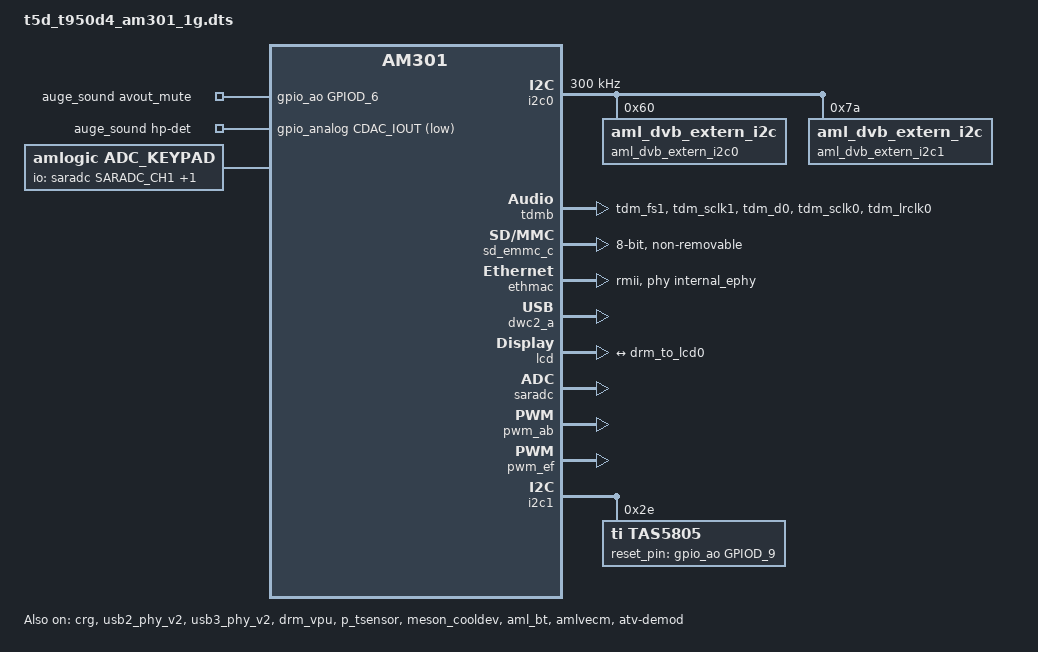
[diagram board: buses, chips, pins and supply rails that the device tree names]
// SPDX-License-Identifier: (GPL-2.0+ OR MIT)
/*
 * Copyright (c) 2019 Amlogic, Inc. All rights reserved.
 */

/dts-v1/;

#include "mesont5d.dtsi"
#include "hdr10plus.dtsi"
#include "partition_mbox_ab_gpt_from_dts.dtsi"
#include "mesont5d_am301-panel.dtsi"
#include "mesont5_drm.dtsi"
#include "mesont5d_audio.dtsi"

/ {
	amlogic-dt-id = "t5d_t950d4_am301-1g";
	compatible = "t5d_t950d4_am301-1g";

	aliases {
		serial0 = &uart_B;
		serial1 = &uart_A;
		serial2 = &uart_C;
		tsensor0 = &p_tsensor;
		i2c0 = &i2c0;
		i2c1 = &i2c1;
		i2c2 = &i2c2;
		spi0 = &spifc;
		spi1 = &spicc0;
	};

	memory@0 {
		device_type = "memory";
		linux,usable-memory = <0x0 0x40000000>;
	};

	reserved-memory {
		#address-cells = <1>;
		#size-cells = <1>;
		ranges;

		ramdump_bl33z {
			compatible = "shared-dma-pool";
			size = <0x01800000>;
			alignment = <0x00400000>;
			alloc-ranges = <0x05000000 0x07000000>;
			linux,contiguous-region;
			no-map;
			status = "disabled";
		};

		ramdump_data@0 {
			reg = <0x0 0x0>;
			status = "disabled"; /* disabled as default */
		};

		/* global autoconfigured region for contiguous allocations */
		ramoops@7400000 {
			compatible = "ramoops";
			reg = <0x07400000 0x00080000>;/* addr set in uboot */
			record-size = <0x30000>;
			console-size = <0x40000>;
			ftrace-size = <0x0>;
			pmsg-size = <0x10000>;
		};

		dmc_reserved:linux,dmc_monitor {
			compatible = "amlogic,dmc_monitor-reserved";
			reg = <0x0 0x10000>;
		};

		secmon_reserved: linux,secmon {
			compatible = "shared-dma-pool";
			no-map;
			size = <0x400000>;
			alignment = <0x400000>;
			alloc-ranges = <0x05000000 0x400000>;
		};

		logo_reserved:linux,meson-fb {
			compatible = "amlogic, meson-fb";
			alignment = <0x400000>;
			reg = <0x3f800000 0x800000>;
		};

		lcd_cma_reserved:linux,lcd-reserved {
			compatible = "amlogic, lcd_rsvd";
			reg = <0x3f000000 0x00510000>;
			tcon-size = <0x00502840>;
		};

		codec_mm_cma:linux,codec_mm_cma {
			compatible = "shared-dma-pool";
			reusable;
			/* testAV1Decode60fps1920x1080: 116MB is required at least */
			size = <0x7400000>;
			alignment = <0x400000>;
			alloc-ranges = <0x30000000 0x10000000>;
			linux,contiguous-region;
		};

		/* codec shared reserved */
		codec_mm_reserved:linux,codec_mm_reserved {
			compatible = "amlogic, codec-mm-reserved";
			size = <0x0>;
			/*alignment = <0x100000>;*/
			//no-map;
			alloc-ranges = <0x30000000 0x10000000>;
		};

		ion_cma_reserved:linux,ion-dev {
			compatible = "shared-dma-pool";
			reusable;
			size = <0x0>;
			alignment = <0x400000>;
			alloc-ranges = <0x30000000 0x10000000>;
		};
		ion_fb_reserved:linux,ion-fb {
			compatible = "shared-dma-pool";
			reusable;
			size = <0x0>;
			alignment = <0x400000>;
			alloc-ranges = <0x30000000 0x10000000>;
		};
		/* secure ion for gpu, advice size is 80M */
		ion_secure_reserved:linux,ion-secure {
			compatible = "amlogic, ion-secure-mem";
			no-map;
			size = <0x0>;
			alignment = <0x400000>;
		};

		dmaheap_cma_reserved:heap-gfx {
			compatible = "shared-dma-pool";
			reusable;
			/* 1080p TV android16 size 88M */
			size = <0x0>;
			alignment = <0x400000>;
		};
		dmaheap_fb_reserved:heap-fb {
			compatible = "shared-dma-pool";
			reusable;
			/* 1080p TV android16 size 24M */
			size = <0x1c00000>;
			alignment = <0x400000>;
			alloc-ranges = <0x30000000 0x10000000>;
		};

		/*  vdin0 CMA pool */
		//vdin0_cma_reserved:linux,vdin0_cma {
		//	compatible = "shared-dma-pool";
		//	reusable;
			/* 3840x2160x4x4 ~=128 M */
		//	size = <0xc400000>;
		//	alignment = <0x400000>;
		//};

		/*  vdin1 CMA pool */
		vdin1_cma_reserved:linux,vdin1_cma {
			compatible = "shared-dma-pool";
			reusable;
			/* 1920x1080x2x4  =16 M */
			size = <0x0c00000>;
			alignment = <0x400000>;
			alloc-ranges = <0x30000000 0x10000000>;
		};

		/* demod_reserved:linux,demod {
		 *	compatible = "amlogic, demod-mem";
		 *	size = <0x6400000>; //8M //100m 0x6400000
		 *	//multi-use;
		 *	//no-map;
		 * };
		 */

		/* demod_cma_reserved:linux,demod_cma {
		 *	compatible = "shared-dma-pool";
		 *	reusable;
		 *	// 40M
		 *	size = <0x02800000>;
		 *	alignment = <0x400000>;
		 *};
		 */

		/*di CMA pool */
		di_cma_reserved:linux,di_cma {
			compatible = "shared-dma-pool";
			reusable;
			/* buffer_size = 3621952(yuv422 8bit)
			 *  | 4736064(yuv422 10bit)
			 *  | 4074560(yuv422 10bit full pack mode)
			 * 10x3621952=34.6M(0x23) support 8bit
			 * 10x4736064=45.2M(0x2e) support 12bit
			 * 10x4074560=40M(0x28) support 10bit
			 */
			//size = <0x7800000>;
			alignment = <0x400000>;
		};

		/* for hdmi rx emp use */
		/*hdmirx_emp_cma_reserved:linux,emp_cma {*/
			/*compatible = "shared-dma-pool";*/
			/*linux,phandle = <5>;*/
			/*reusable;*/
			/* 4M for emp to ddr */
			/* 32M for tmds to ddr */
			/*size = <0x8000>;*/
			/*alignment = <0x400000>;*/
		/*};*/

		/* POST PROCESS MANAGER */
		ppmgr_reserved:linux,ppmgr {
			compatible = "amlogic, ppmgr_memory";
			size = <0x0>;
		};

		picdec_cma_reserved:linux,picdec {
			compatible = "shared-dma-pool";
			reusable;
			size = <0x0>;
			alignment = <0x0>;
			linux,contiguous-region;
		};

		/* global autoconfigured region for contiguous allocations */
		linux,cma {
			compatible = "shared-dma-pool";
			reusable;
			size = <0x400000>;
			alignment = <0x400000>;
			linux,cma-default;
		};
	}; /* end of reserved-memory */

	multi-di {
		//status = "okay";
		/***************************************************
		 * memory: default is 4
		 *	0:use reserved;
		 *	1:use cma;
		 *	2:use cma as reserved
		 *  4:use codec mem
		 ***************************************************/
		//flag_cma = <4>;//t5d unsupport 4K,di 1CH need 42M
		//memory-region = <&di_cma_reserved>;
		/***************************************************
		 * clock-range: <min max>
		 *	default: <334 334>
		 ***************************************************/
		//clock-range = <334 334>;
		/***************************************************
		 * en_4k: t5d not support 4k
		 ***************************************************/
		//en_4k = <0>;
		//keep_dec_vf = <0>;
		//po_fmt = <0>;
		/***************************************************
		 * post_nub: default is 9
		 ***************************************************/
		//post_nub = <9>;
		post-wr-support = <0>;
		postlink_en = <1>;
	};

	aml_dtv_demod {
		compatible = "amlogic, ddemod-t5d-revB";
		dev_name = "aml_dtv_demod";
		status = "disabled";
		diseqc_name = "sgm_41286";
		pinctrl-names="if_agc_pins", "diseqc_out", "rf_agc_pins";
		pinctrl-0=<&dtvdemod_if_agc_pins>;
		pinctrl-1=<&diseqc_out>;
		pinctrl-2=<&dtvdemod_rf_agc_pins>;
		//pinctrl-3=<&diseqc_in>;
		lnb_en-gpios = <&gpio GPIOZ_2 GPIO_ACTIVE_HIGH>;
		lnb_sel-gpios = <&gpio GPIOZ_3 GPIO_ACTIVE_HIGH>;
		interrupts = <GIC_SPI 142 IRQ_TYPE_EDGE_RISING>;
		interrupt-names = "demod_isr";

		power-domains = <&pwrdm PDID_T5_DEMOD>;
		clocks = <&clkc CLKID_CLK81_DAC_CLK>;
		clock-names = "vdac_clk_gate";

		reg = <0xff670000 0x10000	/*dtv demod base*/
			   0xff646000 0x2000	/*hiu reg base*/
			   0xff800000 0x1000	/*io_aobus_base*/
			   0xffd01000 0x1000	/*reset*/
			>;

		spectrum = <1>;
		cma_mem_size = <16>; // MB
		//memory-region = <&demod_cma_reserved>;//<&demod_reserved>;
	};

	/* Audio Related start */
	auge_sound {
		compatible = "amlogic, auge-sound-card";
		aml-audio-card,name = "AML-AUGESOUND";

		avout_mute-gpios = <&gpio_ao GPIOD_6 GPIO_ACTIVE_HIGH>;
		av_mute_sleep_time = <900>;
		/* headphone insert det */
		hp-det-gpios = <&gpio_analog CDAC_IOUT GPIO_ACTIVE_LOW>;

		interrupts = <GIC_SPI 235 IRQ_TYPE_EDGE_RISING>;
		interrupt-names = "audio_exception64";

		aml-audio-card,dai-link@0 {
			format = "i2s";
			mclk-fs = <256>;
			//continuous-clock;
			//bitclock-inversion;
			//frame-inversion;
			/* master mode */
			bitclock-master = <&tdma>;
			frame-master = <&tdma>;
			/* slave mode */
			/*
			 * bitclock-master = <&tdmacodec>;
			 * frame-master = <&tdmacodec>;
			 */
			/* suffix-name, sync with android audio hal used for */
			suffix-name = "alsaPORT-pcm";
			tdmacpu: cpu {
				sound-dai = <&tdma>;
				dai-tdm-slot-tx-mask =
							<1 1>;
				dai-tdm-slot-rx-mask =
							<1 1>;
				dai-tdm-slot-num = <2>;
				dai-tdm-slot-width = <32>;
				system-clock-frequency = <12288000>;
			};
			tdmacodec: codec {
				sound-dai = <&dummy_codec>;
			};
		};

		aml-audio-card,dai-link@1 {
			format = "i2s";
			mclk-fs = <256>;
			continuous-clock;
			//bitclock-inversion;
			//frame-inversion;
			/* master mode */
			bitclock-master = <&tdmb>;
			frame-master = <&tdmb>;
			/* slave mode */
			//bitclock-master = <&tdmbcodec>;
			//frame-master = <&tdmbcodec>;
			/* suffix-name, sync with android audio hal used for */
			suffix-name = "alsaPORT-i2s";
			cpu {
				sound-dai = <&tdmb>;
				dai-tdm-slot-tx-mask = <1 1>;
				dai-tdm-slot-rx-mask = <1 1>;
				dai-tdm-slot-num = <2>;
				dai-tdm-slot-width = <32>;
				system-clock-frequency = <12288000>;
			};
			tdmbcodec: codec {
				prefix-names = "AMP";
				sound-dai = <&tas5805 &acodec>;
			};
		};

		aml-audio-card,dai-link@2 {
			format = "i2s";
			mclk-fs = <256>;
			//continuous-clock;
			//bitclock-inversion;
			//frame-inversion;
			/* master mode */
			bitclock-master = <&tdmc>;
			frame-master = <&tdmc>;
			/* slave mode */
			//bitclock-master = <&tdmccodec>;
			//frame-master = <&tdmccodec>;
			/* suffix-name, sync with android audio hal used for */
			//suffix-name = "alsaPORT-tdm";
			cpu {
				sound-dai = <&tdmc>;
				dai-tdm-slot-tx-mask = <1 1>;
				dai-tdm-slot-rx-mask = <1 1>;
				dai-tdm-slot-num = <2>;
				dai-tdm-slot-width = <32>;
				system-clock-frequency = <12288000>;
			};
			tdmccodec: codec {
				sound-dai = <&dummy_codec>;
			};
		};

		aml-audio-card,dai-link@3 {
			mclk-fs = <64>;
			/* suffix-name, sync with android audio hal used for */
			suffix-name = "alsaPORT-pdm-builtinmic";
			cpu {
				sound-dai = <&pdma>;
			};
			codec {
				sound-dai = <&dummy_codec>;
			};
		};

		aml-audio-card,dai-link@4 {
			mclk-fs = <128>;
			continuous-clock;
			/* suffix-name, sync with android audio hal used for */
			suffix-name = "alsaPORT-spdif";
			cpu {
				sound-dai = <&spdifa>;
				system-clock-frequency = <6144000>;
			};
			codec {
				sound-dai = <&dummy_codec>;
			};
		};

		aml-audio-card,dai-link@5 {
			mclk-fs = <128>;
			suffix-name = "alsaPORT-spdifb";
			cpu {
				sound-dai = <&spdifb>;
				system-clock-frequency = <6144000>;
			};
			codec {
				sound-dai = <&dummy_codec>;
			};
		};

		aml-audio-card,dai-link@6 {
			mclk-fs = <256>;
			suffix-name = "alsaPORT-tv";
			cpu {
				sound-dai = <&extn>;
				system-clock-frequency = <12288000>;
			};
			codec {
				sound-dai = <&dummy_codec>;
			};
		};

		aml-audio-card,dai-link@7 {
			mclk-fs = <256>;
			continuous-clock;
			suffix-name = "alsaPORT-loopback";
			cpu {
				sound-dai = <&loopbacka>;
				system-clock-frequency = <12288000>;
			};
			codec {
				sound-dai = <&dummy_codec>;
			};
		};
	};
	/* Audio Related end */

	dvb-extern {
		compatible = "amlogic, dvb-extern";
		dev_name = "dvb-extern";
		status = "okay";

		fe_num = <1>;
		fe0_demod = "internal";

		tuner_num = <2>; /* tuner number, multi tuner support */
		tuner0_name = "mxl661_tuner";
		tuner0_i2c_adap = <&i2c0>;
		tuner0_i2c_addr = <0x60>;
		tuner0_xtal = <1>; /* 0: 16MHz, 1: 24MHz */
		tuner0_xtal_mode = <3>;
					/* NO_SHARE_XTAL(0)
					 * SLAVE_XTAL_SHARE(3)
					 */
		tuner0_xtal_cap = <25>;

		tuner1_name = "rt710_tuner";
		tuner1_i2c_adap = <&i2c0>;
		tuner1_i2c_addr = <0xF4>;
		tuner1_xtal = <0>; /* 0: 16MHz, 1: 24MHz */
		tuner1_xtal_mode = <0>;
					/* NO_SHARE_XTAL(0)
					 * SLAVE_XTAL_SHARE(3)
					 */
		tuner1_xtal_cap = <25>;
	};

	dvb-demux {
		compatible = "amlogic, dvb-demux";
		dev_name = "dvb-demux";
		status = "okay";

		dmx = <&demux>;
		key_endia = <1>;
		add_s2p2 = <1>;
		add_ts_in = <1>;
		add_asyncfifo = <1>;

		/*"parallel","serial","disable"*/
		ts1 = "parallel";
		ts1_control = <0>;
		ts1_invert = <0>;
		ts1_csa_enable = <0>;

		ts2 = "parallel";
		ts2_control = <0>;
		ts2_invert = <0>;
		tsin_deglitch = <1>;
		ts2_csa_enable = <1>;

		clocks = <&clkc CLKID_CLK81_DEMUX
		&clkc CLKID_CLK81_AHB_ARB0
		&clkc CLKID_CLK81_PARSER0>;
		clock-names = "demux", "ahbarb0", "parser_top";
		pinctrl-names = "p_ts2";
		pinctrl-0 = <&dvb_p_ts2_pins>;
	};
	dvbci {
		compatible = "amlogic, dvbci";
		dev_name = "dvbci";
		/* 0=iobus,1=spi,2=cimax,3=spi-t312 4:T5D,ci bus*/
		io_type = <4>;
		le_enable_level = <1>; /*LE pin enable level*/
		/*gpio pin define*/
		pinctrl-names= "ci_ts_pins", "ci_addr_pins";
		pinctrl-0=<&dvb_ci_bus_pins &ci_ts_pins &ci_ts_clk_pins>;
		pinctrl-1=<&dvb_ci_bus_pins &ci_addr_pins &ci_gpio_pins>;
		reg = <0xffd20000 0x1FFF>;
		/*irq define*/
		interrupts = <0 186 1
				0 187 1>;
		interrupt-names = "irq_cmp",
					"irq_timeout";
		dvbci_io {
			/*gpio define  GPIOM_27 GPIOM_28 GPIOM_29*/
			cd_pin1 = <&gpio       GPIOM_27       GPIO_ACTIVE_HIGH>;
			pwr_pin = <&gpio       GPIOM_28       GPIO_ACTIVE_HIGH>;
			le_pin  = <&gpio       GPIOM_29       GPIO_ACTIVE_HIGH>;
		};
	};

	/* SMC */
	smartcard {
		compatible = "amlogic,smartcard-sc2";
		dev_name = "smartcard";
		status = "disabled";

		reg = <0xffd25000 0x1000>;
		irq_trigger_type = "GPIO_IRQ_LOW";

		reset_pin-gpios = <&gpio GPIOZ_3 GPIO_ACTIVE_HIGH>;
		detect_pin-gpios = <&gpio GPIOM_27 GPIO_ACTIVE_HIGH>;
		enable_5v3v_pin-gpios = <&gpio GPIOM_28 GPIO_ACTIVE_HIGH>;
		enable_pin-gpios = <&gpio GPIOZ_2 GPIO_ACTIVE_HIGH>;

		interrupts = <0 37 1>;
		interrupt-names = "smc0_irq";
		/*
		 *Smc clock source, if change this,
		 *you must adjust clk and divider in smartcard.c
		 */
		smc0_clock_source = <0>;
		/*0: high voltage on detect pin indicates card in.*/
		smc0_det_invert = <0>;
		smc0_5v3v_level = <0>;
		/*Ordinarily,smartcard controller needs a enable pin.*/
		smc_need_enable_pin = "yes";
		reset_level = <0>;
		smc0_enable_level = <0>;

		pinctrl-names = "default";
		pinctrl-0 = <&sd_iso7816_pins>;

		/* For NSK2 Smartcard
		 * pinctrl-names = "default", "pins-mode0", "pins-mode1",
		 *      "pins-mode2", "data-m0-h",
		 *      "data-m1-h", "data-m2-h",
		 *      "data-m0-l", "data-m1-l",
		 *      "data-m2-l";
		 * pinctrl-0 = <&sd_iso7816_pins>;
		 * pinctrl-1 = <&iso7816_pins_mode_0>;
		 * pinctrl-2 = <&iso7816_pins_mode_1>;
		 * pinctrl-3 = <&iso7816_pins_mode_2>;
		 * pinctrl-4 = <&iso7816_pin_data_m_0_h>;
		 * pinctrl-5 = <&iso7816_pin_data_m_1_h>;
		 * pinctrl-6 = <&iso7816_pin_data_m_2_h>;
		 * pinctrl-7 = <&iso7816_pin_data_m_0_l>;
		 * pinctrl-8 = <&iso7816_pin_data_m_1_l>;
		 * pinctrl-9 = <&iso7816_pin_data_m_2_l>;
		 */

		clocks = <&clkc CLKID_CLK81_SMARTCARD>;
		clock-names = "smartcard";
	};

	vdin@0 {
		compatible = "amlogic, vdin-t5d";
		/*memory-region = <&vdin0_cma_reserved>;*/
		status = "okay";
		/*bit0:(1:share with codec_mm;0:cma alone)
		 *bit8:(1:alloc in discontinuous way;0:alone in continuous way)
		 */
		flag_cma = <0x101>;
		/*MByte, if 10bit disable: 64M(YUV422),
		 *if 10bit enable: 64*1.5 = 96M(YUV422)
		 *if support 4K2K-YUV444-10bit-WR:3840*2160*4*6 ~= 200M
		 *if support 4K2K-YUV422-10bit-wr:3840*2160*3*6 ~= 160M
		 *if support 4K2K-YUV422-8BIT-WR:3840*2160*2*4 ~= 64M
		 *if support 1080p-YUV422-8BIT-WR:1920*1080*2*4 ~= 16M
		 *worst case:(4096*2160*4 + 2M(afbce issue)) *6buf = 214.5M
		 */
		cma_size = <80>;
		frame_buff_num = <10>;
		interrupts = <0 83 1>;
		rdma-irq = <2>;
		/*clocks = <&clkc CLKID_FCLK_DIV5>,
		 *	<&clkc CLKID_VDIN_MEAS_COMP>;
		 *clock-names = "fclk_div5", "cts_vdin_meas_clk";
		 */
		vdin_id = <0>;
		clocks = <&clkc CLKID_FCLK_DIV5>,
			<&clkc CLKID_VDIN_MEAS_GATE>;
		clock-names = "fclk_div5", "cts_vdin_meas_clk";
		/*vdin write mem color depth support:
		 * bit0:support 8bit
		 * bit1:support 9bit
		 * bit2:support 10bit
		 * bit3:support 12bit
		 * bit4:support yuv422 10bit full pack mode (from txl new add)
		 * bit5:force yuv422 to yuv444 malloc (for vdin0 debug)
		 * bit8:use 8bit  at 4k_50/60hz_10bit
		 * bit9:use 10bit at 4k_50/60hz_10bit
		 */
		tv_bit_mode = <0x235>;
		/* afbce_bit_mode: (amlogic frame buff compression encoder)
		 * bit0 -- enable afbce
		 * bit1 -- enable afbce compression-lossy
		 * bit4 -- afbce for 4k
		 * bit5 -- afbce for 1080p
		 * bit6 -- afbce for 720p
		 * bit7 -- afbce for smaller resolution
		 */
		afbce_bit_mode = <0x0>;
		/*urgent_en*/
		double_write_en;
		/* secure_en; */
		v4l_support_en = <0>;
		v4l_vd_num = <70>;
		/* v4l2 capability */
		driver   = "vdinvideo";
		card     = "meson-t5d";
		bus_info = "vdin0 v4l2";
	};

	vdin@1 {
		compatible = "amlogic, vdin-t5d";
		memory-region = <&vdin1_cma_reserved>;
		status = "okay";
		/*bit0:(1:share with codec_mm;0:cma alone)
		 *bit8:(1:alloc in discontinuous way;0:alone in continuous way)
		 */
		flag_cma = <0>;
		interrupts = <0 85 1>;
		rdma-irq = <4>;
		/*clocks = <&clkc CLKID_FCLK_DIV5>,
		 *	<&clkc CLKID_VDIN_MEAS_COMP>;
		 *clock-names = "fclk_div5", "cts_vdin_meas_clk";
		 */
		vdin_id = <1>;
		frame_buff_num = <4>;
		/*vdin write mem color depth support:
		 *bit0:support 8bit
		 *bit1:support 9bit
		 *bit2:support 10bit
		 *bit3:support 12bit
		 */
		tv_bit_mode = <0x15>;
		/*urgent_en*/
		/* vdin v4l2 start */
		v4l_support_en = <0>;
		v4l_vd_num = <71>;
		/* v4l2 capability */
		driver   = "vdinvideo";
		card     = "meson-t5d";
		bus_info = "vdin1 v4l2";
	};

	/* for external keypad */
	adc_keypad {
		compatible = "amlogic, adc_keypad";
		status = "okay";
		key_name = "power","vol-","vol+","enter","menu","source","exit";
		key_num = <7>;
		io-channels = <&saradc SARADC_CH1>,<&saradc SARADC_CH2>;
		io-channel-names = "key-chan-1", "key-chan-2";
		key_chan = <SARADC_CH1 SARADC_CH1 SARADC_CH1 SARADC_CH1
			SARADC_CH2 SARADC_CH2 SARADC_CH2>;
		key_code = <116 114 115 28 139 466 174>;
		key_val = <0 252 468 684 0 252 468>; // Unit: millivolt
		key_tolerance = <70 70 70 70 70 70 70>; // Unit: millivolt
	};

	atv-demod {
		compatible = "amlogic, atv-demod";
		status = "okay";
		btsc_sap_mode = <1>;
		interrupts = <0 236 1>;
		/* pinctrl-names="atvdemod_agc_pins"; */
		/* pinctrl-0=<&atvdemod_agc_pins>; */
		reg = <0xff656000 0x2000 /* demod reg */
				0xff646000 0x2000 /* hiu reg */
				0xff634400 0x400 /* periphs reg */
				0xff64a000 0x2000>; /* audio reg */
		reg_23cf = <0x88188832>;
		/*default:0x88188832;r840 on haier:0x48188832*/
	};
}; /* end of / */

&amlvideo2_0 {
	/*1:720P_NV21 2:1080P_NV21 3:4K_NV21*/
	codec_mm_alloc = <1>;
};

&amlvideo2_1 {
	/*1:720P_NV21 2:1080P_NV21 3:4K_NV21*/
	codec_mm_alloc = <1>;
};

&hdmirx {
	status = "disabled";
	en_4k_2_2k = <0>;
	hpd_low_cec_off = <1>;
	arc_port = <1>;
	/* bit4: enable feature, bit3~0: port number */
	disable_port = <0x0>;
	pinctrl-0 = <&hdmirx_a_mux &hdmirx_b_mux
		&hdmirx_c_mux>;
};

&i2c0 {
	status = "okay";
	clock-frequency = <300000>;
	pinctrl-names="default";
	pinctrl-0=<&i2c0_z_pins>;

	aml_dvb_extern_i2c0: aml_dvb_extern_i2c@60 {
		compatible = "aml_dvb_extern_i2c";
		dev_name = "mxl661";
		reg = <0x60>;
		status = "okay";
	};
	aml_dvb_extern_i2c1: aml_dvb_extern_i2c@7a {
		compatible = "aml_dvb_extern_i2c";
		dev_name = "rt710";
		reg = <0x7a>;
		status = "okay";
	};
};

&tdmb {
	pinctrl-names = "tdm_pins","tdm_gpio";
	pinctrl-0 = <&mclk_1_pins
			&tdmout_b_pins
			&tdm_d0_pins
			&tdm_clk_pins>;
	pinctrl-1 = <&tdmb_gpio>;

};

&pdma {
	pinctrl-names = "pdm_pins";
	pinctrl-0 = <&pdmin>;
};

&spdifa {

		pinctrl-names = "spdif_pins",
			"spdif_pins_mute";
		pinctrl-0 = <&spdifout_a>;
		pinctrl-1 = <&spdifout_a_mute>;
};

&spdifb {
		pinctrl-names = "spdif_pins",
			"spdif_pins_mute";
		pinctrl-0 = <&spdifout_b>;
		pinctrl-1 = <&spdifout_b_mute>;
};

&pinctrl_audio {
	tdm_d0_pins: tdm_d0_pin {
		mux {
			groups = "tdm_d0";
			function = "tdmoutb_lane0";
		};
	};

	tdm_clk_pins: tdm_clk_pin {
		mux {
			groups = "tdm_sclk0", "tdm_lrclk0";
			function = "tdm_clk_outb";
		};
	};
};

&pinctrl_periphs {
	/* audio pin mux */
	tdmout_b_pins: tdmout_b_pin {
		mux { /* GPIOH_15, GPIOH_16, GPIOH_17 */
			groups = "tdm_fs1",
				"tdm_sclk1",
				"tdm_d0";
			function = "tdm";
			bias-pull-down;
		};
	};

	tdmb_gpio: tdmb_gpio {
		mux { /* GPIOH_14, GPIOH_15, GPIOH_16, GPIOH_17 */
			groups ="GPIOH_14",
				"GPIOH_15",
				"GPIOH_16",
				"GPIOH_17";
			function = "gpio_periphs";
			output-low;
		};
	};

	pdmin: pdmin {
		mux { /* GPIOH_19, GPIOH_18 */
			groups = "pdm_dclk_h",
				"pdm_din0_h18";
			function = "pdm";
		};
	};

	/* backlight */
	bl_pwm_vs_on_pins:bl_pwm_vs_on_pin {
		mux {
			groups = "pwm_vs_h12";
			function = "pwm_vs";
		};
	};
	bl_pwm_off_pins:bl_pwm_off_pin {
		mux {
			groups = "GPIOH_12";
			function = "gpio_periphs";
			output-low;
		};
	};
	bl_pwm_combo_0_vs_on_pins:bl_pwm_combo_0_vs_on_pin {
		mux {
			groups = "pwm_vs_h12";
			function = "pwm_vs";
		};
	};
	bl_pwm_combo_1_vs_on_pins:bl_pwm_combo_1_vs_on_pin {
		mux {
			groups = "pwm_vs_h13";
			function = "pwm_vs";
		};
	};
	bl_pwm_combo_off_pins:bl_pwm_combo_off_pin {
		mux {
			groups = "GPIOH_12",
				"GPIOH_13";
			function = "gpio_periphs";
			output-low;
		};
	};

}; /* end of pinctrl_periphs */

&sd_emmc_c {
	status = "okay";
	pinctrl-names = "default", "clk-gate";
	pinctrl-0 = <&emmc_conf_pull_up &emmc_conf_pull_done>;
	pinctrl-1 = <&emmc_clk_gate_pins>;

	bus-width = <8>;
	cap-mmc-highspeed;
	//mmc-ddr-1_8v;
	mmc-hs200-1_8v;
	mmc-hs400-1_8v;
	max-frequency = <200000000>;
	non-removable;
	disable-wp;
	run-low-mem;
	hs4_core_phase = <0>;
	hs2_core_phase = <2>;
	init_core_phase = <3>;
//	mmc-pwrseq = <&emmc_pwrseq>;
//	vmmc-supply = <&vddao_3v3>;
//	vqmmc-supply = <&vddao_1v8>;
};

&spifc {
	status = "disabled";
	spi-nor@0 {
		status = "disabled";
	};
};

&mtd_nand {
	status = "disabled";
	#address-cells = <1>;
	#size-cells = <0>;

	bl_mode = <1>;
	fip_copies = <4>;
	fip_size = <0x200000>;
	ship_bad_block = <1>;
	disa_irq_flag = <1>;

	nand@0 {
		reg = <0>;
		#address-cells = <1>;
		#size-cells = <1>;
		nand-ecc-maximize;

		partitions {
			#address-cells = <1>;
			#size-cells = <1>;

			partition@0 {
				label = "bootloader";
				reg = <0x0 0x00000000>;
			};
			partition@1 {
				label = "tpl";
				reg = <0x0 0x00000000>;
			};
			partition@2 {
				label = "logo";
				reg = <0x0 0x00200000>;
			};
			partition@3 {
				label = "recovery";
				reg = <0x0 0x1000000>;
			};
			partition@4 {
				label = "boot";
				reg = <0x0 0x0F00000>;
			};
			partition@5 {
				label = "system";
				reg = <0x0 0x11800000>;
			};
			partition@6 {
				label = "data";
				reg = <0x0 0xffffffff>;
			};
		};
	};
};

&ethmac {
	status = "okay";
	phy-handle = <&internal_ephy>;
	phy-mode = "rmii";
};

&uart_A {
	status = "disabled";
};

&crg {
	status = "okay";
};

&usb2_phy_v2 {
	status = "okay";
	portnum = <3>;
};

&usb3_phy_v2 {
	status = "okay";
	portnum = <0>;
	portconfig-30 = <0>;
	portconfig-31 = <0>;
	otg = <0>;
};

&dwc2_a {
	status = "okay";
	/** 0: normal, 1: otg+dwc3 host only, 2: otg+dwc3 device only*/
	controller-type = <1>;
};

&spicc0 {
	status = "disabled";
	pinctrl-names = "default";
	pinctrl-0 = <&spicc0_pins_h>;
	cs-gpios = <&gpio GPIOH_8 0>;
	spi-nor@0 {
		compatible = "jedec,spi-nor";
		status = "disabled";
		reg = <0>;
		spi-max-frequency = <16000000>;
	};
};

&meson_fb {
	status = "disabled";
	display_size_default = <1920 1080 1920 2160 32>;
	mem_size = <0x00800000 0x1980000 0x100000 0x800000>;
	logo_addr = "0x3f800000";
	mem_alloc = <0>;
	pxp_mode = <0>; /** 0:normal mode 1:pxp mode */
};

&drm_vpu {
	status = "okay";
	logo_addr = "0x3f800000";

	connectors_dev: port@0 {
		drm_to_lcd0: endpoint@0 {
			reg = <0>;
			remote-endpoint = <&lcd0_to_drm>;
		};
	};
};

&lcd {
	ports {
		port {
			#address-cells = <1>;
			#size-cells = <0>;
			lcd0_to_drm: endpoint@0 {
				reg = <0>;
				remote-endpoint = <&drm_to_lcd0>;
			};
		};
	};
};

&vdac {
	cdac_disable = <1>;
};

&saradc {
	status = "okay";
};

&pwm_ab {
	status = "okay";
};

&pwm_ef {
	status = "okay";
};

&vddcpu0 {
	status = "okay";
};

&lut_dma {
	status = "disabled";
};

&p_tsensor {
	status = "okay";
};

&meson_cooldev {
	status = "okay";
};

&i2c1 {
	status = "okay";
	pinctrl-names="default";
	pinctrl-0=<&i2c1_pins>;

	lcd_extern_i2c0: lcd_extern_i2c@36 {
		compatible = "lcd_ext, i2c";
		dev_name = "i2c_RT6965";
		reg = <0x36>;
		status = "disabled";
	};

	tas5805: tas5805@2e {
		compatible = "ti, tas5805";
		#sound-dai-cells = <0>;
		codec_name = "tas5805";
		reg = <0x2e>;
		reset_pin = <&gpio_ao GPIOD_9 GPIO_ACTIVE_HIGH>;
		status = "okay";
	};
};

&aml_bt {
	status = "okay";
	power_down_disable = <1>;
	reset-gpios = <&gpio_ao       GPIOD_3       GPIO_ACTIVE_HIGH>;
};

&aml_wifi{
	status = "disabled";
	power_on-gpios  = <&gpio_ao       GPIOD_2       GPIO_ACTIVE_HIGH>;
};

&cma_shrinker {
	free = <7680 24288 28528 32600 32768 36624>;
};

&amlvecm {
	compatible = "amlogic, vecm-t5d";
	dev_name = "aml_vecm";
	status = "okay";
	gamma_en = <1>;/*1:enable ;0:disable*/
	wb_en = <1>;/*1:enable ;0:disable*/
	cm_en = <1>;/*1:enable ;0:disable*/
	wb_sel = <0>;/*1:mtx ;0:gainoff*/
	hist_sel = <0>;/*1:vd2 ;0:vd1*/
	vlock_en = <1>;/*1:enable;0:disable*/
	vlock_mode = <0x8>;
	/* vlock work mode:
	 *bit0:auto ENC
	 *bit1:auto PLL
	 *bit2:manual PLL
	 *bit3:manual ENC
	 *bit4:manual soft ENC
	 *bit5:manual MIX PLL ENC
	 */
	 vlock_pll_m_limit = <1>;
	 vlock_line_limit = <2>;
	 clocks = <&clkc CLKID_VID_LOCK_CLK>;
	 clock-names = "cts_vid_lock_clk";
	interrupts = <0 87 1>;
	interrupt-names = "lc_curve";
};
